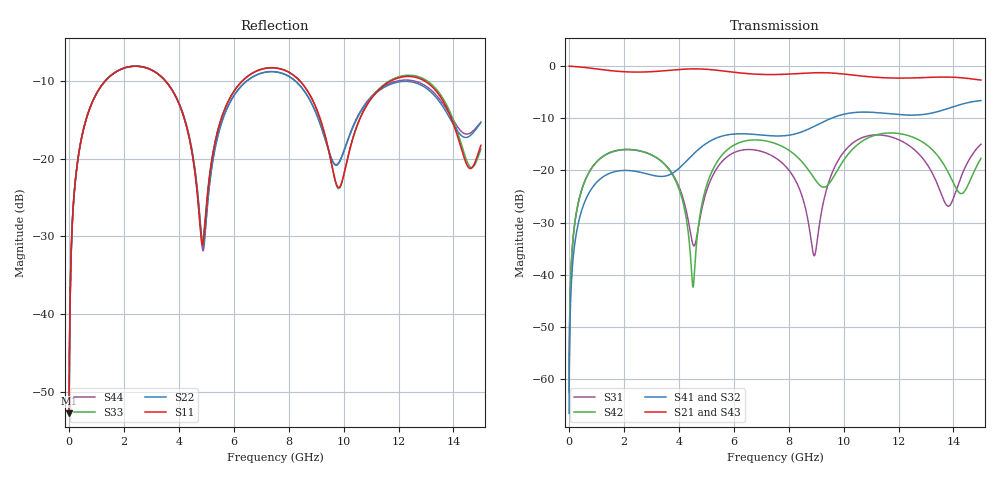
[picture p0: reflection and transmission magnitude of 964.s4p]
! Created with skrf 1.8.0 (http://scikit-rf.org).
# GHz S RI R 50.0
!freq ReS11 ImS11 ReS12 ImS12 ReS13 ImS13
! ReS14 ImS14
! ReS21 ImS21 ReS22 ImS22 ReS23 ImS23
! ReS24 ImS24
! ReS31 ImS31 ReS32 ImS32 ReS33 ImS33
! ReS34 ImS34
! ReS41 ImS41 ReS42 ImS42 ReS43 ImS43
! ReS44 ImS44
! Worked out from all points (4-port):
!   2499 points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, 5 MHz to 15 GHz, reference 50 ohm
!   strongest paths, dB at 5 MHz, 3.476 GHz, 7.19 GHz, 11.1 GHz, 15 GHz:
!     S21: 0.0, -0.9, -1.6, -2.1, -2.7
!     S43: 0.0, -0.9, -1.6, -2.1, -2.7
!     S41: -66.5, -21.1, -13.3, -8.9, -6.6
!     S32: -66.5, -21.1, -13.3, -8.9, -6.6
!     S42: -62.6, -18.8, -14.4, -13.3, -17.7
!     S31: -62.6, -18.7, -16.7, -13.2, -15.0
!   lowest |S11| = -52.7 dB at 5 MHz (marker M1), VSWR 1.00, Z = 50.2 + j0.14 ohm
!   |S11| at or under -10 dB: 3.503 GHz to 6.327 GHz (2.824 GHz wide, 57.5 % of centre); 8.396 GHz to 11.75 GHz (3.35 GHz wide, 33.3 % of centre); 12.93 GHz to end of sweep (the widest 3 of 4)
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0.005  0.00184 0.0014  0.9981 -0.00358  9.33e-05 0.00074  -9.06e-05 -0.000462
       0.9981 -0.00358  0.00184 0.0014  -9.06e-05 -0.000462  9.34e-05 0.00074
       9.33e-05 0.00074  -9.06e-05 -0.000462  0.00184 0.0014  0.9981 -0.00358
       -9.06e-05 -0.000462  9.34e-05 0.00074  0.9981 -0.00358  0.00184 0.0014
0.3626511  0.0368 0.1031  0.9491 -0.2544  0.0179 0.049  -0.0148 -0.0297
           0.9491 -0.2544  0.0367 0.1031  -0.0148 -0.0297  0.018 0.049
           0.0179 0.049  -0.0148 -0.0297  0.0368 0.1031  0.9491 -0.2544
           -0.0148 -0.0297  0.018 0.049  0.9491 -0.2544  0.0367 0.1031
1.77574  0.343 0.1273  0.3581 -0.8163  0.1523 0.0325  -0.0953 0.0259
         0.3581 -0.8163  0.3427 0.1278  -0.0953 0.026  0.1528 0.0314
         0.1523 0.0325  -0.0953 0.026  0.343 0.1273  0.3581 -0.8163
         -0.0953 0.0259  0.1528 0.0314  0.3581 -0.8163  0.3427 0.1277
4.520634  0.0468 -0.087  -0.8945 -0.2898  -0.0181 -0.00688  -0.0398 0.1369
          -0.8945 -0.2898  0.0477 -0.0908  -0.0392 0.1371  0.00762 0.000352
          -0.0181 -0.00688  -0.0392 0.1371  0.048 -0.0862  -0.8946 -0.2896
          -0.0398 0.1369  0.00762 0.000352  -0.8946 -0.2896  0.0462 -0.0909
7.340559  0.3821 -0.00115  -0.1031 0.8227  0.1369 -0.0321  0.2121 -0.0355
          -0.1031 0.8227  0.3606 0.0178  0.2117 -0.0363  0.1512 -0.1107
          0.1369 -0.0321  0.2117 -0.0363  0.3833 -0.00409  -0.1029 0.8223
          0.2121 -0.0355  0.1512 -0.1107  -0.1029 0.8223  0.3612 0.0208
10.08545  0.0796 0.0421  0.8338 -0.0415  0.0577 0.1481  -0.0362 -0.3472
          0.8338 -0.0415  0.109 0.0519  -0.0381 -0.3471  0.0303 0.131
          0.0577 0.1481  -0.0381 -0.3471  0.0794 0.0432  0.8335 -0.0422
          -0.0362 -0.3472  0.0303 0.131  0.8335 -0.0422  0.1099 0.0541
15  0.1072 0.057  -0.7339 -0.0265  0.0317 0.1755  0.00862 0.4671
    -0.7339 -0.0265  0.1651 0.04  0.0123 0.4676  0.0567 0.1177
    0.0317 0.1755  0.0123 0.4676  0.105 0.0469  -0.7341 -0.0295
    0.00862 0.4671  0.0567 0.1177  -0.7341 -0.0295  0.1683 0.0321
